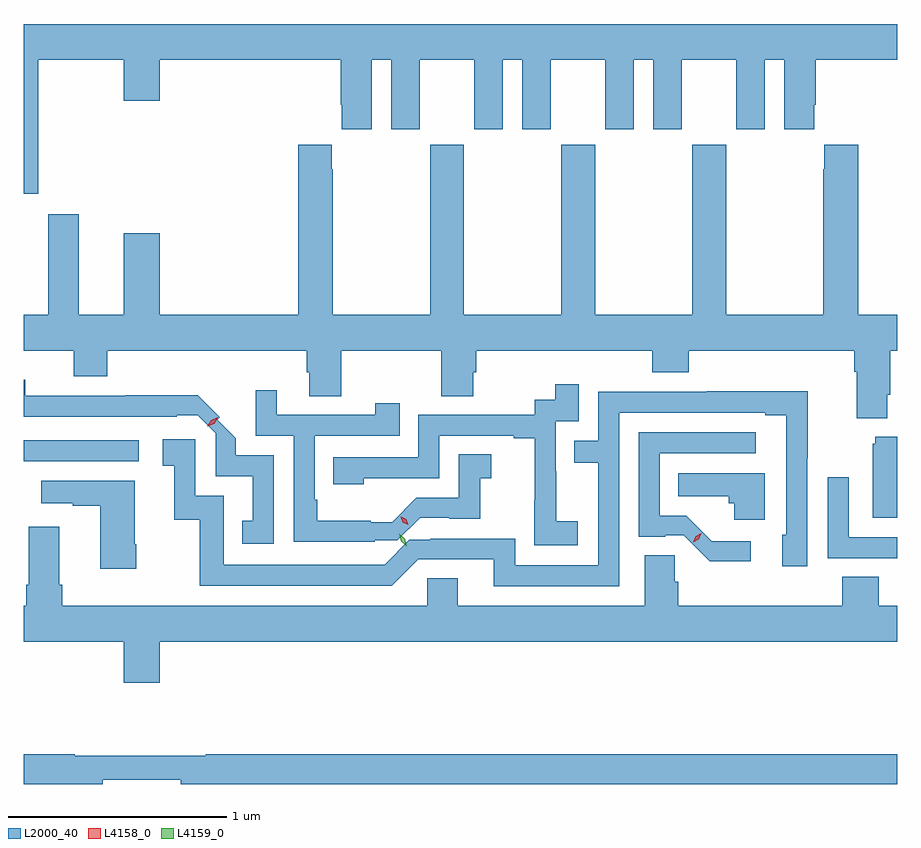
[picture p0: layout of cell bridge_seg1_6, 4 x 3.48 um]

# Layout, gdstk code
import gdstk
lib = gdstk.Library(unit=1e-6, precision=1e-09)
def R(c, l, rs):  # rectangles x0, y0, x1, y1
    for r in rs: c.add(gdstk.rectangle(r[:2], r[2:], *l))
def P(c, l, *ps):  # polygons
    for p in ps: c.add(gdstk.Polygon(p, *l))
L2000_40 = (2000, 40)
L4158_0 = (4158, 0)
L4159_0 = (4159, 0)

bridge_seg1_6 = lib.new_cell('bridge_seg1_6')
R(bridge_seg1_6, L2000_40, [(859.854,508.602,860.38,508.698)])
P(bridge_seg1_6, L2000_40, [(859.921,510.44),(860.312,510.44),(860.312,510.252),(860.476,510.252),(860.476,510.44),(861.305,510.44),(861.305,510.235),(861.311,510.235),(861.311,510.123),(861.448,510.123),(861.448,510.44),(861.536,510.44),(861.536,510.123),(861.667,510.123),(861.667,510.44),(861.917,510.44),(861.917,510.123),(862.048,510.123),(862.048,510.44),(862.136,510.44),(862.136,510.123),(862.267,510.123),(862.267,510.44),(862.517,510.44),(862.517,510.123),(862.648,510.123),(862.648,510.44),(862.736,510.44),(862.736,510.123),(862.867,510.123),(862.867,510.44),(863.117,510.44),(863.117,510.123),(863.248,510.123),(863.248,510.44),(863.336,510.44),(863.336,510.123),(863.473,510.123),(863.473,510.235),(863.48,510.235),(863.48,510.44),(863.854,510.44),(863.854,510.604),(859.854,510.604),(859.854,509.826),(859.921,509.826)],
  [(863.809,508.906),(863.822,508.906),(863.822,509.108),(863.854,509.108),(863.854,509.272),(863.675,509.272),(863.675,510.052),(863.519,510.052),(863.519,509.939),(863.515,509.939),(863.515,509.272),(863.07,509.272),(863.07,510.052),(862.915,510.052),(862.915,509.272),(862.47,509.272),(862.47,510.052),(862.315,510.052),(862.315,509.272),(861.87,509.272),(861.87,510.052),(861.715,510.052),(861.715,509.272),(861.27,509.272),(861.27,509.939),(861.265,509.939),(861.265,510.052),(861.11,510.052),(861.11,509.272),(860.476,509.272),(860.476,509.647),(860.312,509.647),(860.312,509.272),(860.107,509.272),(860.107,509.734),(859.967,509.734),(859.967,509.272),(859.854,509.272),(859.854,509.108),(860.084,509.108),(860.084,508.991),(860.237,508.991),(860.237,509.108),(861.149,509.108),(861.149,509.01),(861.161,509.01),(861.161,508.9),(861.309,508.9),(861.309,509.108),(861.766,509.108),(861.766,508.9),(861.913,508.9),(861.913,509.01),(861.926,509.01),(861.926,509.108),(862.733,509.108),(862.733,509.009),(862.898,509.009),(862.898,509.108),(863.657,509.108),(863.657,509.012),(863.669,509.012),(863.669,508.799),(863.809,508.799)],
  [(861,508.629),(860.826,508.629),(860.826,508.708),(860.741,508.793),(860.751,508.803),(860.651,508.904),(860.32,508.904),(860.32,508.902),(859.86,508.902),(859.86,508.975),(859.854,508.975),(859.854,508.806),(860.555,508.806),(860.555,508.812),(860.652,508.812),(860.733,508.731),(860.733,508.533),(860.903,508.533),(860.903,508.329),(860.854,508.329),(860.854,508.224),(861,508.224)],
  [(862.39,508.327),(862.292,508.327),(862.292,508.556),(862.29,508.556),(862.29,508.785),(862.395,508.785),(862.395,508.954),(862.287,508.954),(862.287,508.884),(862.194,508.884),(862.194,508.815),(861.66,508.815),(861.66,508.62),(861.271,508.62),(861.271,508.496),(861.411,508.496),(861.411,508.524),(861.756,508.524),(861.756,508.719),(862.097,508.719),(862.097,508.707),(862.193,508.707),(862.193,508.423),(862.192,508.423),(862.192,508.217),(862.39,508.217)],
  [(861.461,508.239),(861.564,508.239),(861.669,508.344),(861.803,508.344),(861.803,508.338),(861.945,508.338),(861.945,508.523),(861.994,508.523),(861.994,508.633),(861.846,508.633),(861.846,508.434),(861.652,508.434),(861.541,508.323),(861.444,508.323),(861.444,508.33),(861.199,508.33),(861.199,508.426),(861.186,508.426),(861.186,508.719),(861.575,508.719),(861.575,508.867),(861.464,508.867),(861.464,508.815),(861.013,508.815),(861.013,508.927),(860.916,508.927),(860.916,508.719),(861.09,508.719),(861.09,508.233),(861.461,508.233)],
  [(862.581,508.824),(863.249,508.824),(863.249,508.812),(863.346,508.812),(863.346,508.266),(863.327,508.266),(863.327,508.122),(863.442,508.122),(863.442,508.615),(863.445,508.615),(863.445,508.922),(862.981,508.922),(862.981,508.92),(862.485,508.92),(862.485,508.695),(862.375,508.695),(862.375,508.594),(862.485,508.594),(862.485,508.125),(862.104,508.125),(862.104,508.248),(861.715,508.248),(861.715,508.242),(861.62,508.242),(861.506,508.128),(860.769,508.128),(860.769,508.443),(860.64,508.443),(860.64,508.702),(860.49,508.702),(860.49,508.581),(860.543,508.581),(860.543,508.335),(860.661,508.335),(860.661,508.032),(861.54,508.032),(861.66,508.152),(862.007,508.152),(862.007,508.029),(862.581,508.029)],
  [(863.182,508.236),(863.005,508.236),(862.888,508.353),(862.767,508.353),(862.767,508.638),(863.206,508.638),(863.206,508.734),(862.671,508.734),(862.671,508.257),(862.791,508.257),(862.791,508.263),(862.877,508.263),(862.996,508.145),(863.182,508.145)],
  [(863.854,508.714),(863.753,508.714),(863.753,508.683),(863.741,508.683),(863.741,508.343),(863.854,508.343)],
  [(863.248,508.546),(862.852,508.546),(862.852,508.442),(863.083,508.442),(863.083,508.41),(863.108,508.41),(863.108,508.334),(863.248,508.334)],
  [(863.854,508.254),(863.631,508.254),(863.631,508.528),(863.535,508.528),(863.535,508.158),(863.851,508.158),(863.851,508.157),(863.854,508.157)],
  [(860.37,508.222),(860.362,508.222),(860.362,508.513),(859.935,508.513),(859.935,508.409),(860.078,508.409),(860.078,508.399),(860.204,508.399),(860.204,508.11),(860.37,508.11)],
  [(860.476,507.776),(863.854,507.776),(863.854,507.94),(863.768,507.94),(863.768,508.073),(863.603,508.073),(863.603,507.94),(862.85,507.94),(862.85,508.049),(862.836,508.049),(862.836,508.172),(862.697,508.172),(862.697,507.94),(861.841,507.94),(861.841,508.067),(861.702,508.067),(861.702,507.94),(860.03,507.94),(860.03,508.036),(860.017,508.036),(860.017,508.303),(859.877,508.303),(859.877,508.036),(859.865,508.036),(859.865,507.94),(859.854,507.94),(859.854,507.776),(860.312,507.776),(860.312,507.588),(860.476,507.588)],
  [(860.216,507.143),(860.572,507.143),(860.572,507.124),(863.854,507.124),(863.854,507.26),(860.687,507.26),(860.687,507.253),(860.087,507.253),(860.087,507.26),(859.854,507.26),(859.854,507.124),(860.216,507.124)])
P(bridge_seg1_6, L4158_0, [(862.92,508.23),(862.92,508.23),(862.931,508.258),(862.957,508.272),(862.957,508.272),(862.957,508.272),(862.946,508.245),(862.92,508.23)],
  [(860.695,508.761),(860.695,508.761),(860.712,508.789),(860.742,508.803),(860.742,508.803),(860.742,508.802),(860.726,508.774),(860.696,508.761)],
  [(861.614,508.312),(861.59,508.323),(861.581,508.348),(861.581,508.348),(861.582,508.348),(861.605,508.337),(861.614,508.312),(861.614,508.312)])
P(bridge_seg1_6, L4159_0, [(861.608,508.212),(861.583,508.235),(861.573,508.269),(861.573,508.269),(861.574,508.269),(861.599,508.246),(861.609,508.212),(861.609,508.212)])

lib.write_gds('bridge_seg1_6.gds')
